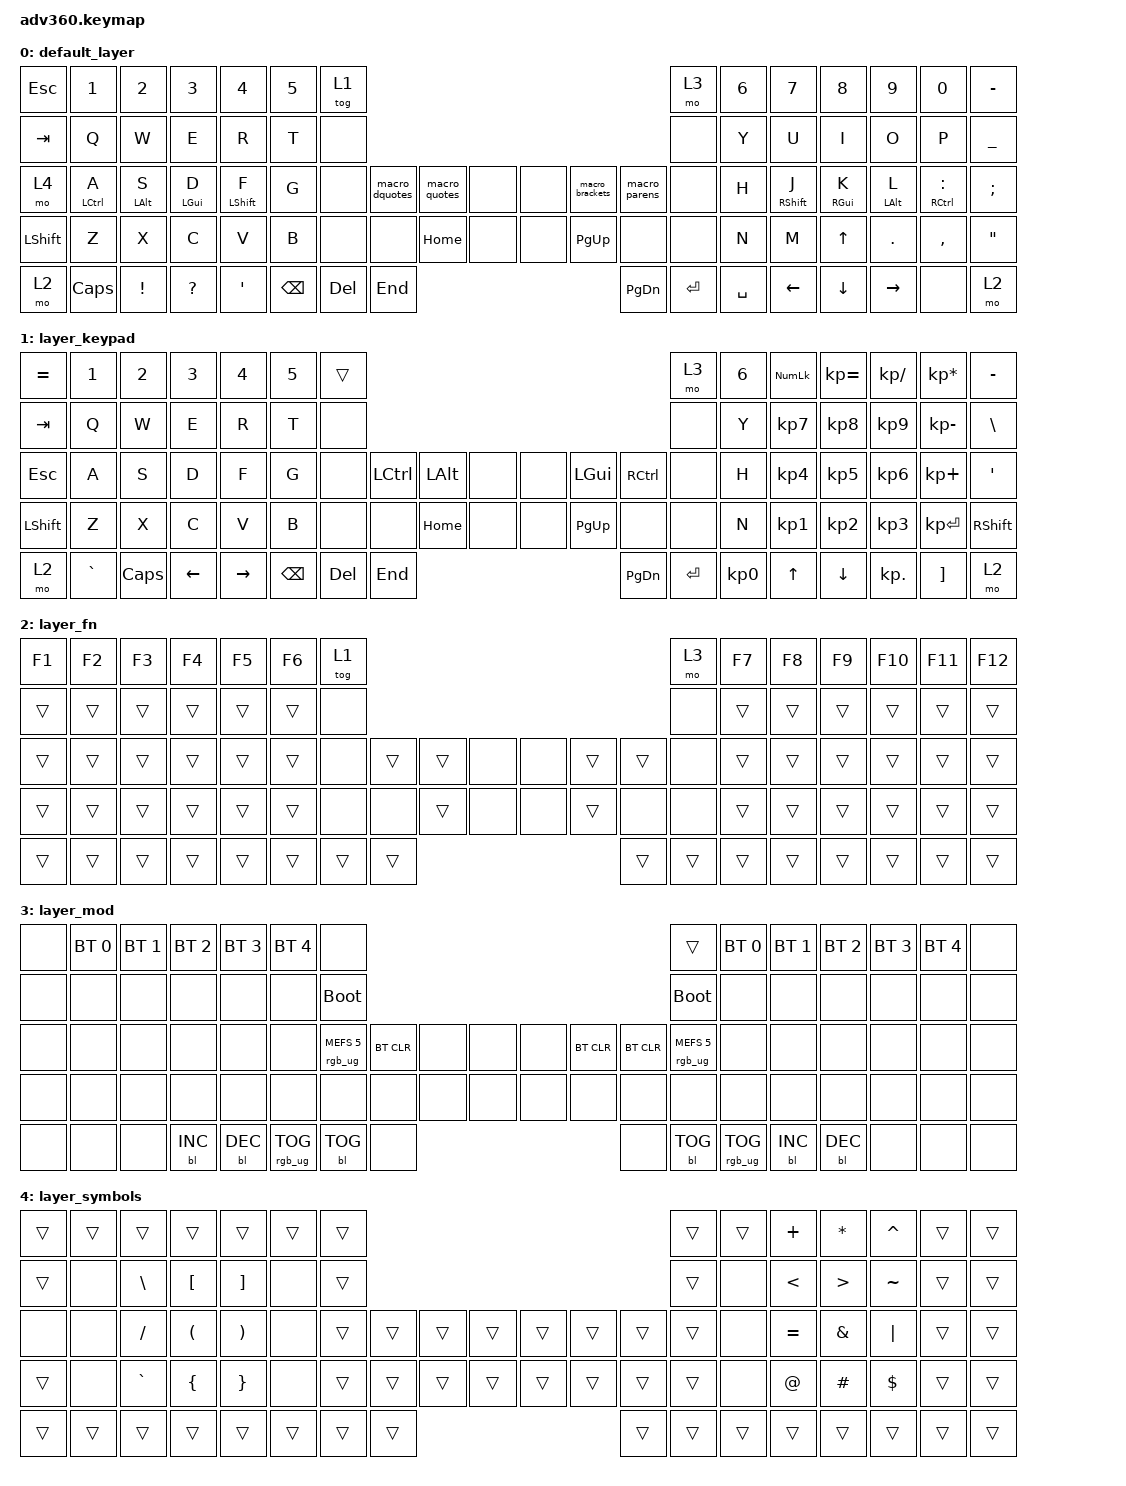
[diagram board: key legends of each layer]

/*
 * Copyright (c) 2020 The ZMK Contributors
 *
 * SPDX-License-Identifier: MIT
 */


/* THIS FILE WAS GENERATED!
 *
 * This file was generated automatically. You may or may not want to
 * edit it directly.
 */

#include <behaviors.dtsi>
#include <dt-bindings/zmk/keys.h>
#include <dt-bindings/zmk/bt.h>
#include <dt-bindings/zmk/rgb.h>
#include <dt-bindings/zmk/backlight.h>

/ {
  behaviors {
    #include "macros.dtsi"

    hm: homerow_mods {
        compatible = "zmk,behavior-hold-tap";
        label = "HOMEROW_MODS";
        #binding-cells = <2>;
        tapping-term-ms = <200>;
        quick_tap_ms = <175>;
        flavor = "tap-preferred";
        bindings = <&kp>, <&kp>;
    };
  };

    keymap {
        compatible = "zmk,keymap";


        default_layer {
            bindings = <
        &kp ESC              &kp N1          &kp N2          &kp N3            &kp N4  &kp N5              &tog 1                                                                                     &mo 3  &kp N6             &kp N7           &kp N8          &kp N9           &kp N0          &kp MINUS
        &kp TAB               &kp Q           &kp W           &kp E             &kp R   &kp T               &none                                                                                     &none   &kp Y              &kp U            &kp I           &kp O            &kp P     &kp UNDERSCORE
          &mo 4  &hm LEFT_CONTROL A  &hm LEFT_ALT S  &hm LEFT_GUI D  &hm LEFT_SHIFT F   &kp G               &none  &macro_dquotes  &macro_quotes   &none   &none  &macro_brackets  &macro_parens      &none   &kp H  &hm RIGHT_SHIFT J  &hm RIGHT_GUI K  &hm LEFT_ALT L  &hm RCTRL COLON      &kp SEMICOLON
 &kp LEFT_SHIFT               &kp Z           &kp X           &kp C             &kp V   &kp B               &none           &none       &kp HOME   &none   &none        &kp PG_UP          &none      &none   &kp N              &kp M           &kp UP         &kp DOT        &kp COMMA  &kp DOUBLE_QUOTES
          &mo 2            &kp CAPS        &kp EXCL    &kp QUESTION          &kp APOS                    &kp BSPC         &kp DEL        &kp END                        &kp PG_DN      &kp ENTER  &kp SPACE                   &kp LEFT         &kp DOWN       &kp RIGHT            &none              &mo 2
            >;
        };

        layer_keypad {
            bindings = <
 &kp EQUAL     &kp N1    &kp N2    &kp N3     &kp N4  &kp N5              &trans                                                                 &mo 3  &kp N6  &kp KP_NUM  &kp KP_EQUAL  &kp KP_DIVIDE  &kp KP_MULTIPLY  &kp MINUS
   &kp TAB      &kp Q     &kp W     &kp E      &kp R   &kp T               &none                                                                 &none   &kp Y   &kp KP_N7     &kp KP_N8      &kp KP_N9     &kp KP_MINUS   &kp BSLH
   &kp ESC      &kp A     &kp S     &kp D      &kp F   &kp G               &none  &kp LCTRL  &kp LALT   &none   &none   &kp LGUI  &kp RCTRL      &none   &kp H   &kp KP_N4     &kp KP_N5      &kp KP_N6      &kp KP_PLUS    &kp SQT
 &kp LSHFT      &kp Z     &kp X     &kp C      &kp V   &kp B               &none      &none  &kp HOME   &none   &none  &kp PG_UP      &none      &none   &kp N   &kp KP_N1     &kp KP_N2      &kp KP_N3     &kp KP_ENTER  &kp RSHFT
     &mo 2  &kp GRAVE  &kp CAPS  &kp LEFT  &kp RIGHT                    &kp BSPC    &kp DEL   &kp END                  &kp PG_DN  &kp ENTER  &kp KP_N0              &kp UP      &kp DOWN     &kp KP_DOT         &kp RBKT      &mo 2
            >;
        };

        layer_fn {
            bindings = <
 &kp F1  &kp F2  &kp F3  &kp F4  &kp F5  &kp F6            &tog 1                                                   &mo 3  &kp F7  &kp F8  &kp F9  &kp F10  &kp F11  &kp F12
 &trans  &trans  &trans  &trans  &trans  &trans             &none                                                   &none  &trans  &trans  &trans   &trans   &trans   &trans
 &trans  &trans  &trans  &trans  &trans  &trans             &none  &trans  &trans   &none   &none  &trans  &trans   &none  &trans  &trans  &trans   &trans   &trans   &trans
 &trans  &trans  &trans  &trans  &trans  &trans             &none   &none  &trans   &none   &none  &trans   &none   &none  &trans  &trans  &trans   &trans   &trans   &trans
 &trans  &trans  &trans  &trans  &trans                    &trans  &trans  &trans                  &trans  &trans  &trans          &trans  &trans   &trans   &trans   &trans
            >;
        };

        layer_mod {
            bindings = <
  &none  &bt BT_SEL 0  &bt BT_SEL 1  &bt BT_SEL 2  &bt BT_SEL 3  &bt BT_SEL 4                             &none                                                                              &trans  &bt BT_SEL 0  &bt BT_SEL 1  &bt BT_SEL 2  &bt BT_SEL 3  &bt BT_SEL 4   &none
  &none         &none         &none         &none         &none         &none                       &bootloader                                                                         &bootloader         &none         &none         &none         &none         &none   &none
  &none         &none         &none         &none         &none         &none            &rgb_ug RGB_MEFS_CMD 5  &bt BT_CLR   &none   &none   &none  &bt BT_CLR  &bt BT_CLR  &rgb_ug RGB_MEFS_CMD 5         &none         &none         &none         &none         &none   &none
  &none         &none         &none         &none         &none         &none                             &none       &none   &none   &none   &none       &none       &none                   &none         &none         &none         &none         &none         &none   &none
  &none         &none         &none    &bl BL_INC    &bl BL_DEC                                 &rgb_ug RGB_TOG  &bl BL_TOG   &none                       &none  &bl BL_TOG         &rgb_ug RGB_TOG                  &bl BL_INC    &bl BL_DEC         &none         &none   &none
            >;
        };

        layer_symbols {
            bindings = <
 &trans  &trans         &trans                &trans                 &trans  &trans            &trans                                                  &trans  &trans       &kp PLUS          &kp STAR   &kp CARET  &trans  &trans
 &trans   &none  &kp BACKSLASH      &kp LEFT_BRACKET      &kp RIGHT_BRACKET   &none            &trans                                                  &trans   &none  &kp LESS_THAN  &kp GREATER_THAN   &kp TILDE  &trans  &trans
  &none   &none      &kp SLASH  &kp LEFT_PARENTHESIS  &kp RIGHT_PARENTHESIS   &none            &trans  &trans  &trans  &trans  &trans  &trans  &trans  &trans   &none      &kp EQUAL     &kp AMPERSAND    &kp PIPE  &trans  &trans
 &trans   &none      &kp GRAVE        &kp LEFT_BRACE        &kp RIGHT_BRACE   &none            &trans  &trans  &trans  &trans  &trans  &trans  &trans  &trans   &none    &kp AT_SIGN          &kp HASH  &kp DOLLAR  &trans  &trans
 &trans  &trans         &trans                &trans                 &trans                    &trans  &trans  &trans                  &trans  &trans  &trans                 &trans            &trans      &trans  &trans  &trans
            >;
        };

    };
};
